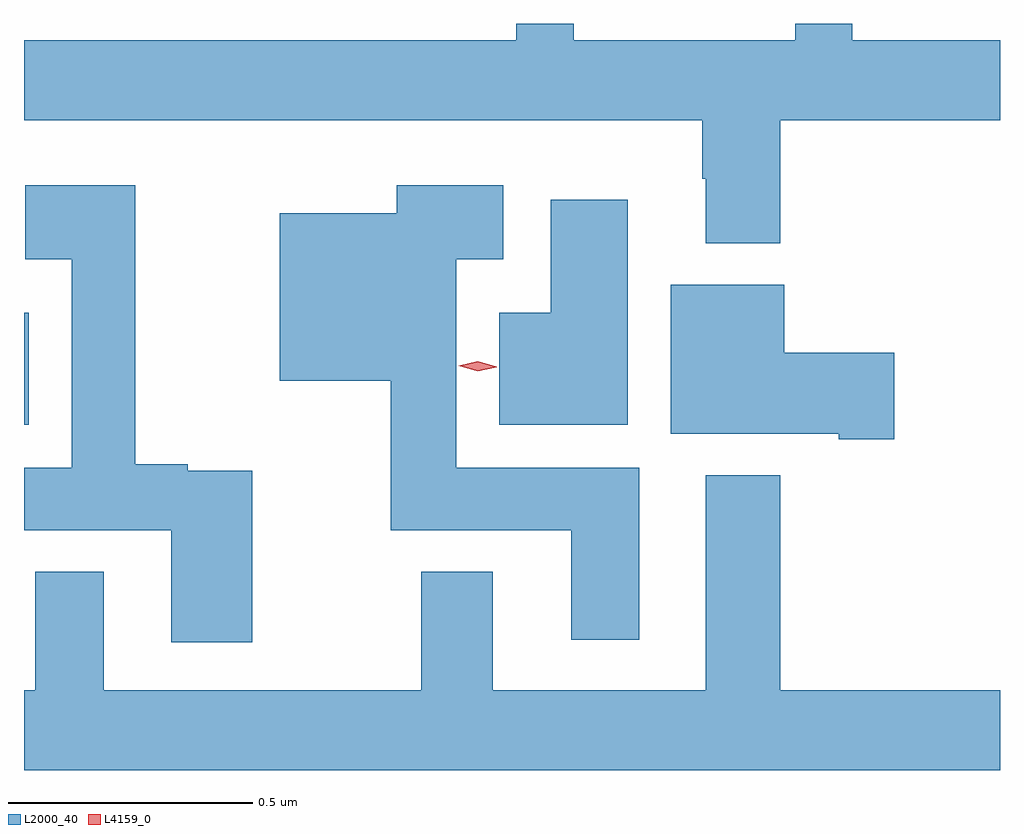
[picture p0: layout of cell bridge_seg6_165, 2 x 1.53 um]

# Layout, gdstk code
import gdstk
lib = gdstk.Library(unit=1e-6, precision=1e-09)
def R(c, l, rs):  # rectangles x0, y0, x1, y1
    for r in rs: c.add(gdstk.rectangle(r[:2], r[2:], *l))
def P(c, l, *ps):  # polygons
    for p in ps: c.add(gdstk.Polygon(p, *l))
L2000_40 = (2000, 40)
L4159_0 = (4159, 0)

bridge_seg6_165 = lib.new_cell('bridge_seg6_165')
R(bridge_seg6_165, L2000_40, [(534.45,978.68,534.46,978.91)])
P(bridge_seg6_165, L2000_40, [(535.577,979.502),(535.459,979.502),(535.459,979.468),(534.45,979.468),(534.45,979.304),(535.84,979.304),(535.84,979.184),(535.847,979.184),(535.847,979.052),(536,979.052),(536,979.304),(536.45,979.304),(536.45,979.468),(536.147,979.468),(536.147,979.502),(536.03,979.502),(536.03,979.468),(535.577,979.468)],
  [(534.918,978.586),(534.786,978.586),(534.786,978.599),(534.678,978.599),(534.678,979.171),(534.453,979.171),(534.453,979.019),(534.548,979.019),(534.548,978.592),(534.45,978.592),(534.45,978.464),(534.752,978.464),(534.752,978.234),(534.918,978.234)],
  [(535.711,978.592),(535.336,978.592),(535.336,979.019),(535.432,979.019),(535.432,979.171),(535.214,979.171),(535.214,979.114),(534.974,979.114),(534.974,978.77),(535.202,978.77),(535.202,978.464),(535.571,978.464),(535.571,978.24),(535.711,978.24)],
  [(535.687,979.141),(535.529,979.141),(535.529,978.91),(535.424,978.91),(535.424,978.68),(535.687,978.68)],
  [(536.233,978.828),(536.008,978.828),(536.008,978.967),(535.775,978.967),(535.775,978.662),(536.12,978.662),(536.12,978.65),(536.233,978.65)],
  [(536.45,978.136),(536,978.136),(536,978.577),(535.847,978.577),(535.847,978.136),(535.411,978.136),(535.411,978.379),(535.264,978.379),(535.264,978.136),(534.613,978.136),(534.613,978.379),(534.473,978.379),(534.473,978.136),(534.45,978.136),(534.45,977.972),(536.45,977.972)])
P(bridge_seg6_165, L4159_0, [(535.38,978.79),(535.341,978.801),(535.341,978.801),(535.341,978.801),(535.38,978.81),(535.419,978.799),(535.419,978.798),(535.419,978.798)])

lib.write_gds('bridge_seg6_165.gds')
